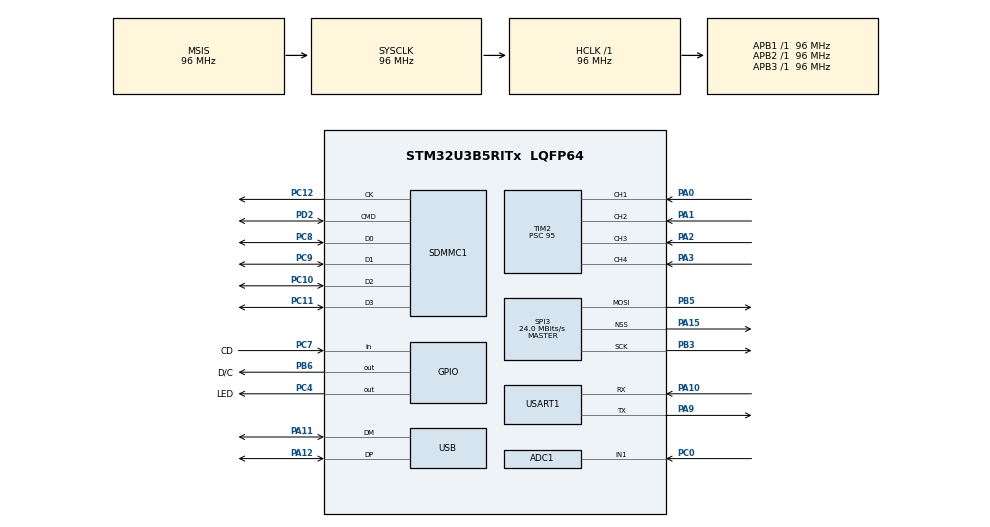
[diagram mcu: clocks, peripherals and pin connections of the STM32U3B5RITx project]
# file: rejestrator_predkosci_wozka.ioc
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ADC1.Channel-0\#ChannelRegularConversion=ADC_CHANNEL_1
ADC1.LowPowerAutoWait=ENABLE
ADC1.MonitoredBy-0\#ChannelRegularConversion=__NULL
ADC1.NbrOfConversionFlag=1
ADC1.OffsetNumber-0\#ChannelRegularConversion=ADC_OFFSET_NONE
ADC1.Rank-0\#ChannelRegularConversion=1
ADC1.SamplingTime-0\#ChannelRegularConversion=ADC_SAMPLETIME_1CYCLE_5
ADC1.master=1
CORTEX_M33_NS.userName=CORTEX_M33
FILEX.FX_DRIVER_USE_64BIT_LBA=0
FILEX.FX_ENABLE_EXFAT=1
FILEX.FX_SD_INTERFACE=1
Mcu.Family=STM32U3
Mcu.Name=STM32U3B5RITx
Mcu.Package=LQFP64
NVIC.PriorityGroup=NVIC_PRIORITYGROUP_4
NVIC.SDMMC1_IRQn=true\:0\:0\:false\:false\:true\:true\:true\:true
NVIC.TIM2_IRQn=true\:0\:0\:false\:false\:true\:true\:true\:true
NVIC.TIM7_IRQn=true\:0\:0\:false\:false\:true\:true\:true\:true
NVIC.USART1_IRQn=true\:0\:0\:false\:false\:true\:true\:true\:true
NVIC.USB_FS_IRQn=true\:0\:0\:false\:false\:true\:true\:true\:true
PA0.Signal=S_TIM2_CH1
PA1.Signal=S_TIM2_CH2
PA10.Mode=Asynchronous
PA10.Signal=USART1_RX
PA11.Mode=Device
PA11.Signal=USB_DM
PA12.Mode=Device
PA12.Signal=USB_DP
PA13\ (JTMS/SWDIO).Mode=Serial_Wire
PA13\ (JTMS/SWDIO).Signal=DEBUG_JTMS-SWDIO
PA14\ (JTCK/SWCLK).Mode=Serial_Wire
PA14\ (JTCK/SWCLK).Signal=DEBUG_JTCK-SWCLK
PA15\ (JTDI).Mode=NSS_Signal_Hard_Output
PA15\ (JTDI).Signal=SPI3_NSS
PA2.Signal=S_TIM2_CH3
PA3.Signal=S_TIM2_CH4
PA9.Mode=Asynchronous
PA9.Signal=USART1_TX
PB3\ (JTDO/TRACESWO).Mode=TX_Only_Simplex_Unidirect_Master
PB3\ (JTDO/TRACESWO).Signal=SPI3_SCK
PB5.Mode=TX_Only_Simplex_Unidirect_Master
PB5.Signal=SPI3_MOSI
PB6.GPIO_Label=D/C
PB6.Signal=GPIO_Output
PC0.Mode=IN1-Single-Ended
PC0.Signal=ADC1_IN1
PC10.GPIO_PuPd=GPIO_PULLUP
PC10.Mode=SD_4_bits_Wide_bus
PC10.Signal=SDMMC1_D2
PC11.GPIO_PuPd=GPIO_PULLUP
PC11.Mode=SD_4_bits_Wide_bus
PC11.Signal=SDMMC1_D3
PC12.Mode=SD_4_bits_Wide_bus
PC12.Signal=SDMMC1_CK
PC4.GPIO_Label=LED
PC4.Signal=GPIO_Output
PC7.GPIO_Label=CD
PC7.Signal=GPIO_Input
PC8.GPIO_PuPd=GPIO_PULLUP
PC8.Mode=SD_4_bits_Wide_bus
PC8.Signal=SDMMC1_D0
PC9.GPIO_PuPd=GPIO_PULLUP
PC9.Mode=SD_4_bits_Wide_bus
PC9.Signal=SDMMC1_D1
PD2.GPIO_PuPd=GPIO_PULLUP
PD2.Mode=SD_4_bits_Wide_bus
PD2.Signal=SDMMC1_CMD
PH0-OSC_IN\ (PH0).Mode=HSE-External-Oscillator
PH0-OSC_IN\ (PH0).Signal=RCC_OSC_IN
PH1-OSC_OUT\ (PH1).Mode=HSE-External-Oscillator
PH1-OSC_OUT\ (PH1).Signal=RCC_OSC_OUT
ProjectManager.HeapSize=0x400
ProjectManager.StackSize=0x800
ProjectManager.TargetToolchain=STM32CubeIDE
RCC.ADCFreq_Value=12000000
RCC.ADC_DIV=RCC_ADCDACCLK_DIV8
RCC.AHBFreq_Value=96000000
RCC.APB1Freq_Value=96000000
RCC.APB1TimFreq_Value=96000000
RCC.APB2Freq_Value=96000000
RCC.APB2TimFreq_Value=96000000
RCC.APB3Freq_Value=96000000
RCC.CortexFreq_Value=12000000
RCC.FLatency=FLASH_LATENCY_3
RCC.HCLKFreq_Value=96000000
RCC.HSE_VALUE=24000000
RCC.HSI48_VALUE=48000000
RCC.HSI_VALUE=16000000
RCC.ICLKCLockSelection=RCC_ICLKCLKSOURCE_HSI48
RCC.LSE_VALUE=32768
RCC.LSIDIV_VALUE=32000
RCC.MSIKDIV=RCC_MSI_DIV2
RCC.MSISDIV=RCC_MSI_DIV1
RCC.SYSCLKFreq_VALUE=96000000
RCC.USBFreq_Value=48000000
SH.S_TIM2_CH1.0=TIM2_CH1,Input_Capture1_from_TI1
SH.S_TIM2_CH2.0=TIM2_CH2,Input_Capture2_from_TI2
SH.S_TIM2_CH3.0=TIM2_CH3,Input_Capture3_from_TI3
SH.S_TIM2_CH4.0=TIM2_CH4,Input_Capture4_from_TI4
SPI3.BaudRatePrescaler=SPI_BAUDRATEPRESCALER_4
SPI3.CalculateBaudRate=24.0 MBits/s
SPI3.Direction=SPI_DIRECTION_2LINES_TXONLY
SPI3.Mode=SPI_MODE_MASTER
SPI3.TIMode=SPI_TIMODE_DISABLE
SPI3.VirtualNSS=VM_NSSHARD
SPI3.VirtualType=VM_MASTER
STMicroelectronics.X-CUBE-ALGOBUILD.1.5.0.LibraryCcDSPOoLibraryJjDSPOoLibrary=true
TIM2.Channel-Input_Capture1_from_TI1=TIM_CHANNEL_1
TIM2.Channel-Input_Capture2_from_TI2=TIM_CHANNEL_2
TIM2.Channel-Input_Capture3_from_TI3=TIM_CHANNEL_3
TIM2.Channel-Input_Capture4_from_TI4=TIM_CHANNEL_4
TIM2.ICPolarity_CH1=TIM_INPUTCHANNELPOLARITY_FALLING
TIM2.ICPolarity_CH2=TIM_INPUTCHANNELPOLARITY_FALLING
TIM2.ICPolarity_CH3=TIM_INPUTCHANNELPOLARITY_FALLING
TIM2.ICPolarity_CH4=TIM_INPUTCHANNELPOLARITY_FALLING
TIM2.Prescaler=95
TIM7.AutoReloadPreload=TIM_AUTORELOAD_PRELOAD_DISABLE
TIM7.Prescaler=95
USART1.VirtualMode-Asynchronous=VM_ASYNC
USB.VirtualMode=Device_Only
VP_CORTEX_M33_NS_VS_Ext.Mode=External_Mode
VP_FILEX_VS_FileOoSystemJjFileXJjCore.Mode=FileX_Core
VP_FILEX_VS_SDOointerface.Mode=SD_interface
VP_ICACHE_VS_ICACHE.Mode=DirectMappedCache
VP_PWR_VS_DBSignals.Mode=DisableDeadBatterySignals
VP_PWR_VS_SECSignals.Mode=Security/Privilege
VP_RCC_USB.Mode=CRS SYNC Source USB
VP_RNG_VS_RNG.Mode=RNG_Activate
VP_STMicroelectronics.X-CUBE-ALGOBUILD_VS_DSPOoLibraryJjLibrary_1.5.0_1.5.0.Mode=DSPOoLibraryJjLibrary
VP_TIM2_VS_ClockSourceINT.Mode=Internal
VP_TIM7_VS_ClockSourceINT.Mode=Enable_Timer
board=custom

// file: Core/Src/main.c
/* USER CODE BEGIN Header */
/**
  ******************************************************************************
  * @file           : main.c
  * @brief          : Main program body
  ******************************************************************************
  * @attention
  *
  * Copyright (c) 2026 STMicroelectronics.
  * All rights reserved.
  *
  * This software is licensed under terms that can be found in the LICENSE file
  * in the root directory of this software component.
  * If no LICENSE file comes with this software, it is provided AS-IS.
  *
  ******************************************************************************
  */
/* USER CODE END Header */
#include "main.h"
#include "app_filex.h"

/* USER CODE BEGIN Includes */
#include "OLED.h"
#include "KartaSD.h"
#include "KodyBledow.h"
#include "Bluetooth.h"
#include "Czas.h"
#include "Pomiar.h"
#include "Kalman.h"
#include <arm_math.h>
#include <stdio.h>
/* USER CODE END Includes */

ADC_HandleTypeDef hadc1;

RNG_HandleTypeDef hrng;

SD_HandleTypeDef hsd1;

SPI_HandleTypeDef hspi3;

TIM_HandleTypeDef htim2;
TIM_HandleTypeDef htim7;

UART_HandleTypeDef huart1;

PCD_HandleTypeDef hpcd_USB_DRD_FS;

/* USER CODE BEGIN PV */

extern FontDef Font_6x8;
extern FontDef Font_7x10;
extern FontDef Font_11x18;
extern FontDef Font_16x26;
extern const uint8_t logo_ITWL[];
extern const int logo_ITWL_width;
extern const int logo_ITWL_height;
char cBuforNapisów[ROZMIAR_BUF_NAPISOW];	//zmienna do drukowania napisów funkcją sprintf()
extern stPomiary_t stPomiary[ROZMIAR_BUF_POMIAROW];
uint8_t cBłąd;
uint16_t sLiczbaPomiarów = 0;
extern uint8_t cStatusPomiaru;
extern uint16_t sIndeksPomiaru;		//indeksuje kolejne pomiary
uint16_t sIndeksAnalizy;			//indeksuje analize pomiarów, gdyż możliwy jest jednoczesny pomiar wielu czujników i processing wtedy sie gubi
uint8_t cLicznikOczekiwania;
uint32_t nCzas;
uint32_t nCzasPetliGłównej, nCzasOstatniegoPomiaru;

uint32_t nT1, nT2;
float fCzas;	//czas w sekundach
float fMaxPrędkość = 0.0f;
extern float32_t fX[KSTAN];						//wektor stanu: 0=droga, 1=prędkość, 2=przyspieszenie, 3..6=błąd drogi rolek 1..4
extern uint16_t sLicznikPomiarow;
float fNapięcieAku;
float fDroga[LICZBA_CZUJNIKOW];
float fDrogaŚrednia;
float fPrędkośćIndywiŚrednia;
float fPrędkośćŚredniaWszystkich;
float fPrzyspieszenieŚrednieIndywid;
float fPrzyspieszenieŚrednieWszystkich;

GPIO_PinState cStanWejścia;
uint16_t sIndeks = 0;
uint32_t nPoprzedniZegarCzujnika[LICZBA_CZUJNIKOW];		//poprzednia wartość zegara do oceny kierunku obrotów
uint32_t nPoprzedniZegarMagnesu[LICZBA_CZUJNIKOW][MAGNESOW_NA_ROLCE];	//poprzedni zegar dla danego magnesu potrzebny do oceny prędkości i przyspiszenia
float fPoprzedniaPrędkość[LICZBA_CZUJNIKOW][MAGNESOW_NA_ROLCE];
float fPoprzedniaPrędkośćWszyst[LICZBA_CZUJNIKOW];
int8_t cKierunek[LICZBA_KANALOW];
int8_t cPoprzedniKierunek[LICZBA_KANALOW];
uint8_t cPoprzedniCzujnik[LICZBA_KANALOW];
int8_t cIndeksMagnesu[LICZBA_CZUJNIKOW];	//indeks magnesu na każdym z czujników
float fMaxPrędkośćWykresu;
uint8_t cMaxPredkośćWykresu;
float fSkokPodziałki;
uint8_t cLicznikSytuacjiPrzeciwnegoKierunku;	//licznik do detekcji niewłaściwego podłączenia czujników gdzie każda z rolek wskazuje inny kierunek przez kilka kolejnych impulsów
uint8_t cLicznikImpulsówPoZmianieKierunku;		//licznik do detekcji zmiany sposobu liczenia czasu między magnesami. Po zmianie przez pierwszy obrót rolki trzeba czas liczyć inną metodą
/* USER CODE END PV */

void SystemClock_Config(void);
void PeriphCommonClock_Config(void);
static void MX_GPIO_Init(void);
static void MX_ADC1_Init(void);
static void MX_ICACHE_Init(void);
static void MX_SPI3_Init(void);
static void MX_TIM2_Init(void);
static void MX_USART1_UART_Init(void);
static void MX_USB_PCD_Init(void);
static void MX_RNG_Init(void);
static void MX_SDMMC1_SD_Init(void);
static void MX_TIM7_Init(void);

int main(void)
{

  /* MCU Configuration--------------------------------------------------------*/

  /* Reset of all peripherals, Initializes the Flash interface and the Systick. */
  HAL_Init();

  /* Configure the system clock */
  SystemClock_Config();

  /* Configure the peripherals common clocks */
  PeriphCommonClock_Config();

  /* Initialize all configured peripherals */
  MX_GPIO_Init();
  MX_ADC1_Init();
  MX_ICACHE_Init();
  MX_SPI3_Init();
  MX_TIM2_Init();
  MX_USART1_UART_Init();
  MX_USB_PCD_Init();
  MX_RNG_Init();
  MX_SDMMC1_SD_Init();
  MX_FileX_Init();
  MX_TIM7_Init();
  /* USER CODE BEGIN 2 */
  OLED_Init();
  InicjujPomiarTimerem();
  /* USER CODE END 2 */

  /* Infinite loop */
  /* USER CODE BEGIN WHILE */
  //Podczas uruchomienia wyświetl logo
    RysujBitmape((OLED_SZEROKOSC - logo_ITWL_width), 0, logo_ITWL_width, logo_ITWL_height, (uint8_t*)logo_ITWL);
    OLED_RysujNapis("WS-150-3I", 0, 0, &Font_7x10);
    sprintf(cBuforNapisów, "ver.%d", NUMER_WERSJI_REPO);
    OLED_RysujNapis(cBuforNapisów, 0, 12, &Font_7x10);

    //zmierz i wyświetl napięcie akumulatora
    cBłąd = HAL_ADC_Start(&hadc1);
    cBłąd = HAL_ADC_PollForConversion(&hadc1, 100);
	uint32_t nAdcVal = HAL_ADC_GetValue(&hadc1);
	fNapięcieAku = 3.3f * nAdcVal / 4096;
	fNapięcieAku *= 113.0f / 13.0f;	//zewnętrzny dzielnik napięcia
    sprintf(cBuforNapisów, "Ub=%.1fV", fNapięcieAku);
    OLED_RysujNapis(cBuforNapisów, 0, 54, &Font_7x10);

    OLED_OdswiezEkran();
    OLED_CzyśćBuforEkranu();
    while (1)
    {
	  /*/diagnostyka pomiaru czasu - sprawdzić po zmianie częstotliwości taktowania timera
	  for (uint8_t n=0; n<6; n++)
	  {
		  HAL_GPIO_TogglePin(LED_GPIO_Port, LED_Pin);
		  nCzasOstatniegoPomiaru = PobierzCzasT7();
		  do  nCzas = MinalCzas(nCzasOstatniegoPomiaru);
		  while (nCzas < 100000);
	  }*/
    /* USER CODE END WHILE */

    /* USER CODE BEGIN 3 */
    	uint8_t cPozX, cPozY;
    	float fWspSkaliY;	//tyle m/s na wysokości ekranu
    	float fWspSkaliX;

    	//zaświeć LED przy aktywacji dowolnego czujnika
    	cStanWejścia  = HAL_GPIO_ReadPin(GPIOA, GPIO_PIN_0);	//czujnik 1 to PA0
    	cStanWejścia &= HAL_GPIO_ReadPin(GPIOA, GPIO_PIN_1);	//czujnik 2 to PA1
    	cStanWejścia &= HAL_GPIO_ReadPin(GPIOA, GPIO_PIN_2);	//czujnik 3 to PA2
    	cStanWejścia &= HAL_GPIO_ReadPin(GPIOA, GPIO_PIN_3);	//czujnik 4 to PA3
    	HAL_GPIO_WritePin(LED_GPIO_Port, LED_Pin, !cStanWejścia);

    	//jeżeli układ pomiarowy nie jest uzbrojony to uzbrój go, czyli inicjuj dane wejdź w gotowość na rejestrację pomiaru
    	if ((cStatusPomiaru & SP_UZBROJONY) != SP_UZBROJONY)
    	{
    		//InicjujFiltrKalmanaPrędkościRolek7X3Z();
    		cBłąd = RozpocznijPomiarTimerem();
    		cStatusPomiaru |= SP_UZBROJONY;
    		fMaxPrędkość = 0.0f;
    		fDrogaŚrednia = fPrędkośćIndywiŚrednia = fPrzyspieszenieŚrednieIndywid = 0.0f;
    		for (uint8_t n=0; n<LICZBA_CZUJNIKOW; n++)
    		{
    			fDroga[n] = -0.5f * ODCINEK_ROLKI;		//wstępne położenie rolki względem czujnika jest w zakresie od 0 do 1, średnio 0,5 odległości między magnesami więc skompensuj pierwszy, niepełny pomiar połową ujemnej drogi
    			for (uint8_t m=0; m<MAGNESOW_NA_ROLCE; m++)
    			{
    				fPoprzedniaPrędkość[n][m] = 0;				//zerowa poprzednia prędkość jest potrzebna do policzenia pierwszego przyspieszenia
    				nPoprzedniZegarMagnesu[n][m] = PobierzCzasT7();
    			}
    			nPoprzedniZegarCzujnika[n] = PobierzCzasT7();
    		}
    		for (uint8_t n=0; n<LICZBA_KANALOW; n++)
    		{
    			cPoprzedniKierunek[n] = cKierunek[n] = 1;	//zakładam ża początkowy kierunek jest zawsze do przodu
    			cPoprzedniCzujnik[n] = 0;
    		}
    	}

    	ObsługaKartySD();	//cały czas sprawdzaj obecność i stan karty oraz FAT-u aby była gotowa do zapisu
    	/*nCzasBiezący = PobierzCzasT7();
    	//Pojawił się pierwszy impuls pomiaru wiec uznajemy proces za trwajacy i rusza predykcja filtra
    	if (cStatusPomiaru & SP_TRWA)
    	{
    		nCzasPetliGłównej = MinalCzas2(nCzasPoprzedni, nCzasBiezący);
    		PredykcjaFiltraKalmanaPrędkościRolek7X3Z((float)nCzasPetliGłównej / 1000000);
    	}
    	nCzasPoprzedni = nCzasBiezący;*/

    	//=============================================================================================================================================================
    	//Jeżeli w cyklu pomiarowym pojawił się więcej niż jeden impuls, to wykonaj dodatkowy obieg pętli dla każdego impulsu, tak aby nie tracić danych
    	if (sIndeksAnalizy < sIndeksPomiaru)
    	{
    		if (sIndeksAnalizy > 0)	//indeks jest inkrementowany po pomiarze, więc pierwsze dane są dla indeksu = 1
    		{
    			sIndeks = sIndeksAnalizy - 1;	//indeks jest aktualizowany w przerwaniu CC timera i wskazuje na następny pomiar, więc trzeba odwołać się do poprzedniego elementu
    			if (stPomiary[sIndeks].cAktywnyCzujnik == SP_POMIAR_CZUJNIKA1)
				{
					cStatusPomiaru &= ~SP_POMIAR_CZUJNIKA1;
					fDroga[0] += (float)cKierunek[ROLKA1] * ODCINEK_ROLKI;	//całkuj drogę jaką pokonał wózek mierzony rolką 1 [m]
					fDrogaŚrednia = (fDrogaŚrednia + fDroga[0]) / 2;

					if (sIndeks > 1 * MAGNESOW_NA_ROLCE)	//do pomiaru prędkości musi być przynajmniej 1 obrót rolki
					{
						//podstawowa metoda obliczania czasu między impulsami. W przypadkach szczegolnych zmiany kierunku obrotu będzie nadpisana
						nCzas = MinalCzas2(nPoprzedniZegarMagnesu[0][cIndeksMagnesu[0]], stPomiary[sIndeks].nZegar);
						fCzas = (float)nCzas / 1000000;
						stPomiary[sIndeks].fPrędkośćIndywi[0] = (float)cKierunek[ROLKA1] * OBWOD_ROLKI / fCzas;	//prędkość na obwodzie rolki, liczona dla każdego magnesu osobno
						stPomiary[sIndeks].cAlgorytm[0] = 3;

						if (sIndeks > 2 * MAGNESOW_NA_ROLCE)	//aby okreslić kierunek muszą być przechwycone co najmniej 3 impulsy
						{
							//Zmiana kierunku obrotów objawia się na dwa sposoby:
							//1)dwa kolejne impulsy wystąpiły na tym samym czujniku
							if (cPoprzedniCzujnik[ROLKA1] == SP_POMIAR_CZUJNIKA1)
							{
								cKierunek[ROLKA1] *= -1;	//zmień znak
								//tutaj poprzedni impuls pochodzi z tego samego czujnika, więc aby poprawnie policzyć prędkość zamień miejscami poprzednie zegary
								uint32_t nTemp = nPoprzedniZegarCzujnika[0];
								nPoprzedniZegarCzujnika[0] = nPoprzedniZegarCzujnika[1];
								nPoprzedniZegarCzujnika[1] = nTemp;
							}
							else
							{
								//określenie kierunku przez porównanie czasów T1 i T2, gdzie:
								nT1 = MinalCzas2(nPoprzedniZegarCzujnika[0], nPoprzedniZegarCzujnika[1]);			//T1 = czas między poprzednim impulsem czujnika 1 a ostatnim impulsem czujnika 2 na tej rolce,
								nT2 = MinalCzas2(nPoprzedniZegarCzujnika[1], stPomiary[sIndeks].nZegar);	//T2 = czas między ostatnim impulsem czujnika 2 a impulsem bieżącym bieżącego czujnika 1
								if (nT1 < nT2)
									cKierunek[ROLKA1] = 1;
								else
									cKierunek[ROLKA1] = -1;
							}
							if (cKierunek[ROLKA1] != cPoprzedniKierunek[ROLKA1])	//czy była zmiana kierunku
							{
								cLicznikImpulsówPoZmianieKierunku = 1;
								stPomiary[sIndeks].cAlgorytm[0] = 0;
								fDroga[0] -= (float)cPoprzedniKierunek[ROLKA1] * ODCINEK_ROLKI;	//przy zmianie kierunku cześć drogi (liczone przed nawiasem) jest ze znakiem + a cześć ze znakiem minus
								stPomiary[sIndeks].fPrędkośćIndywi[0] = 0.0f;	//nastąpiła zmiana kierunku, więc prędkość przechodzi przez 0
							}
							else
							{
								//przypadek zmiany sposobu liczenia czasu przez obrót po zmianie kierunku
								if (cLicznikImpulsówPoZmianieKierunku < MAGNESOW_NA_ROLCE)
								{
									nCzas = MinalCzas2(nPoprzedniZegarMagnesu[0][(MAGNESOW_NA_ROLCE - 1) - cIndeksMagnesu[0]], stPomiary[sIndeks].nZegar);
									fCzas = (float)nCzas / 1000000;
									stPomiary[sIndeks].cAlgorytm[0] = 2;
									cLicznikImpulsówPoZmianieKierunku++;	//nie licz impulsów ciagle, bo przekręcenie licznika spowoduje zakłócenie, wystarczy zliczyć pełen obrót
								}
							}
							cPoprzedniKierunek[ROLKA1] = cKierunek[ROLKA1];
							stPomiary[sIndeks].fPrzyspieszenieIndywi[0] = (stPomiary[sIndeks].fPrędkośćIndywi[0] - fPoprzedniaPrędkość[0][cIndeksMagnesu[0]]) / fCzas;
							stPomiary[sIndeks].nCzas[0] = nCzas;
							fPrzyspieszenieŚrednieIndywid = (fPrzyspieszenieŚrednieIndywid + stPomiary[sIndeks].fPrzyspieszenieIndywi[0]) / 2;
						}
						fPoprzedniaPrędkość[0][cIndeksMagnesu[0]] = stPomiary[sIndeks].fPrędkośćIndywi[0];
						nPoprzedniZegarMagnesu[0][cIndeksMagnesu[0]] = stPomiary[sIndeks].nZegar;
						fPrędkośćIndywiŚrednia = (fPrędkośćIndywiŚrednia + stPomiary[sIndeks].fPrędkośćIndywi[0]) / 2;
						stPomiary[sIndeks].cKierunekObrotów[ROLKA1] = cKierunek[ROLKA1];
					}

					if (sIndeks > 1)	//do pomiaru prędkości muszą być przynajmniej 2 impulsy
					{
						nCzas = MinalCzas2(nPoprzedniZegarCzujnika[0], stPomiary[sIndeks].nZegar);
						fCzas = (float)nCzas / 1000000;
						stPomiary[sIndeks].fPrędkośćWszyst[0] = (float)cKierunek[ROLKA1] * ODCINEK_ROLKI / fCzas;	//prędkość na obwodzie rolki, liczona dla wszystkich magnesów
						if (sIndeks > 2)
							stPomiary[sIndeks].fPrzyspieszenieWszyst[0] = (stPomiary[sIndeks].fPrędkośćWszyst[0] - fPoprzedniaPrędkośćWszyst[0]) / fCzas;
						fPoprzedniaPrędkośćWszyst[0] = stPomiary[sIndeks].fPrędkośćWszyst[0];
						fPrędkośćŚredniaWszystkich = (fPrędkośćŚredniaWszystkich + stPomiary[sIndeks].fPrędkośćWszyst[0]) / 2;
						fPrzyspieszenieŚrednieWszystkich = (fPrzyspieszenieŚrednieWszystkich + stPomiary[sIndeks].fPrzyspieszenieWszyst[0]) / 2;
					}

					nPoprzedniZegarCzujnika[0] = stPomiary[sIndeks].nZegar;
					stPomiary[sIndeks].cIndeksMagnesu[0] = cIndeksMagnesu[0];
					cIndeksMagnesu[0] += cKierunek[ROLKA1];
					if (cIndeksMagnesu[0] < 0)
					cIndeksMagnesu[0] = MAGNESOW_NA_ROLCE - 1;
					if (cIndeksMagnesu[0] >= MAGNESOW_NA_ROLCE)
						cIndeksMagnesu[0] = 0;

					//AktulizacjaCzujnikiem1FiltraKalmanaPrędkości7X3Z(fDroga[0], stPomiary[sIndeks].fPrędkośćIndywi[0], stPomiary[sIndeks].fPrzyspieszenieIndywi[0]);
					cPoprzedniCzujnik[ROLKA1] = SP_POMIAR_CZUJNIKA1;
					stPomiary[sIndeks].fDroga[0] = fDroga[0];
				}

    			if (stPomiary[sIndeks].cAktywnyCzujnik == SP_POMIAR_CZUJNIKA2)
				{
					cStatusPomiaru &= ~SP_POMIAR_CZUJNIKA2;
					fDroga[1] += (float)cKierunek[ROLKA1] * ODCINEK_ROLKI;	//całkuj drogę jaką pokonał wózek mierzony rolką 2 [m]
					fDrogaŚrednia = (fDrogaŚrednia + fDroga[1]) / 2;

					if (sIndeks > 1 * MAGNESOW_NA_ROLCE)	//do pomiaru prędkości musi być przynajmniej 1 obrót rolki
					{
						//podstawowa metoda obliczania czasu między impulsami. W przypadkach szczegolnych zmiany kierunku obrotu będzie nadpisana
						nCzas = MinalCzas2(nPoprzedniZegarMagnesu[1][cIndeksMagnesu[1]], stPomiary[sIndeks].nZegar);
						fCzas = (float)nCzas / 1000000;
						stPomiary[sIndeks].fPrędkośćIndywi[1] = (float)cKierunek[ROLKA1] * OBWOD_ROLKI / fCzas;	//prędkość na obwodzie rolki, liczona dla każdego magnesu osobno
						stPomiary[sIndeks].cAlgorytm[1] = 3;

						if (sIndeks > 2 * MAGNESOW_NA_ROLCE)	//aby okreslić kierunek muszą być przechwycone co najmniej 3 impulsy
						{
							if (cPoprzedniCzujnik[ROLKA1] == SP_POMIAR_CZUJNIKA2)
							{
								cKierunek[ROLKA1] *= -1;	//zmień znak
								//tutaj poprzedni impuls pochodzi z tego samego czujnika, więc aby poprawnie policzyć prędkość zamień miejscami poprzednie zegary
								uint32_t nTemp = nPoprzedniZegarCzujnika[0];
								nPoprzedniZegarCzujnika[0] = nPoprzedniZegarCzujnika[1];
								nPoprzedniZegarCzujnika[1] = nTemp;
							}
							else
							{
								//określenie kierunku przez porównanie czasów T1 i T2, gdzie:
								nT1 = MinalCzas2(nPoprzedniZegarCzujnika[0], stPomiary[sIndeks].nZegar);	//T1 = czas między ostatnim impulsem czujnika 1 a impulsem bieżącym bieżącego czujnika 2
								nT2 = MinalCzas2(nPoprzedniZegarCzujnika[1], nPoprzedniZegarCzujnika[0]);	//T2 = czas między poprzednim impulsem czujnika 2 a ostatnim impulsem czujnika 1 na tej rolce,
								if (nT1 < nT2)
									cKierunek[ROLKA1] = 1;
								else
									cKierunek[ROLKA1] = -1;
							}
							if (cKierunek[ROLKA1] != cPoprzedniKierunek[ROLKA1])	//czy była zmiana kierunku
							{
								cLicznikImpulsówPoZmianieKierunku = 0;
								stPomiary[sIndeks].cAlgorytm[1] = 1;
								fDroga[1] -= (float)cPoprzedniKierunek[ROLKA1] * ODCINEK_ROLKI;	//przy zmianie kierunku cześć drogi (liczone przed nawiasem) jest ze znakiem + a cześć ze znakiem minus
								stPomiary[sIndeks].fPrędkośćIndywi[1] = 0.0f;	//nastąpiła zmiana kierunku, więc prędkość przechodzi przez 0
							}
							else
							{
								//przypadek zmiany sposobu liczenia czasu przez obrót po zmianie kierunku
								if (cLicznikImpulsówPoZmianieKierunku < MAGNESOW_NA_ROLCE)
								{
									nCzas = MinalCzas2(nPoprzedniZegarMagnesu[1][(MAGNESOW_NA_ROLCE - 1) - cIndeksMagnesu[1]], stPomiary[sIndeks].nZegar);
									fCzas = (float)nCzas / 1000000;
									stPomiary[sIndeks].cAlgorytm[1] = 2;
									cLicznikImpulsówPoZmianieKierunku++;	//nie licz impulsów ciagle, bo przekręcenie licznika spowoduje zakłócenie, wystarczy zliczyć pełen obrót
								}
							}
							cPoprzedniKierunek[ROLKA1] = cKierunek[ROLKA1];
							stPomiary[sIndeks].fPrzyspieszenieIndywi[1] = (stPomiary[sIndeks].fPrędkośćIndywi[1] - fPoprzedniaPrędkość[1][cIndeksMagnesu[1]]) / fCzas;
							stPomiary[sIndeks].nCzas[1] = nCzas;
							fPrzyspieszenieŚrednieIndywid = (fPrzyspieszenieŚrednieIndywid + stPomiary[sIndeks].fPrzyspieszenieIndywi[1]) / 2;
						}
						fPoprzedniaPrędkość[1][cIndeksMagnesu[1]] = stPomiary[sIndeks].fPrędkośćIndywi[1];
						nPoprzedniZegarMagnesu[1][cIndeksMagnesu[1]] = stPomiary[sIndeks].nZegar;
						fPrędkośćIndywiŚrednia = (fPrędkośćIndywiŚrednia + stPomiary[sIndeks].fPrędkośćIndywi[1]) / 2;
						stPomiary[sIndeks].cKierunekObrotów[ROLKA1] = cKierunek[ROLKA1];
					}

					if (sIndeks > 1)	//do pomiaru prędkości muszą być przynajmniej 2 impulsy
					{
						nCzas = MinalCzas2(nPoprzedniZegarCzujnika[1], stPomiary[sIndeks].nZegar);
						fCzas = (float)nCzas / 1000000;
						stPomiary[sIndeks].fPrędkośćWszyst[1] = (float)cKierunek[ROLKA1] * ODCINEK_ROLKI / fCzas;	//prędkość na obwodzie rolki, liczona dla wszystkich magnesów
						if (sIndeks > 2)
							stPomiary[sIndeks].fPrzyspieszenieWszyst[1] = (stPomiary[sIndeks].fPrędkośćWszyst[1] - fPoprzedniaPrędkośćWszyst[1]) / fCzas;
						fPoprzedniaPrędkośćWszyst[1] = stPomiary[sIndeks].fPrędkośćWszyst[1];
						fPrędkośćŚredniaWszystkich = (fPrędkośćŚredniaWszystkich + stPomiary[sIndeks].fPrędkośćWszyst[1]) / 2;
						fPrzyspieszenieŚrednieWszystkich = (fPrzyspieszenieŚrednieWszystkich + stPomiary[sIndeks].fPrzyspieszenieWszyst[1]) / 2;
					}

					nPoprzedniZegarCzujnika[1] = stPomiary[sIndeks].nZegar;
					stPomiary[sIndeks].cIndeksMagnesu[1] = cIndeksMagnesu[1];
					cIndeksMagnesu[1] += cKierunek[ROLKA1];
					if (cIndeksMagnesu[1] < 0)
						cIndeksMagnesu[1] = MAGNESOW_NA_ROLCE - 1;
					if (cIndeksMagnesu[1] >= MAGNESOW_NA_ROLCE)
						cIndeksMagnesu[1] = 0;

					//AktulizacjaCzujnikiem2FiltraKalmanaPrędkości7X3Z(fDroga[1], stPomiary[sIndeks].fPrędkośćIndywi[1], stPomiary[sIndeks].fPrzyspieszenieIndywi[1]);
					cPoprzedniCzujnik[ROLKA1] = SP_POMIAR_CZUJNIKA2;
					stPomiary[sIndeks].fDroga[1] = fDroga[1];
				}

    			if (stPomiary[sIndeks].cAktywnyCzujnik == SP_POMIAR_CZUJNIKA3)
				{
					cStatusPomiaru &= ~SP_POMIAR_CZUJNIKA3;
					fDroga[2] += (float)cKierunek[ROLKA2] * ODCINEK_ROLKI;	//całkuj drogę jaką pokonał wózek
					fDrogaŚrednia = (fDrogaŚrednia + fDroga[2]) / 2;

					if (sIndeks > 1 * MAGNESOW_NA_ROLCE)	//do pomiaru prędkości musi być przynajmniej 1 obrót rolki
					{
						//podstawowa metoda obliczania czasu między impulsami. W przypadkach szczegolnych zmiany kierunku obrotu będzie nadpisana
						nCzas = MinalCzas2(nPoprzedniZegarMagnesu[2][cIndeksMagnesu[2]], stPomiary[sIndeks].nZegar);
						fCzas = (float)nCzas / 1000000;
						stPomiary[sIndeks].fPrędkośćIndywi[2] = (float)cKierunek[ROLKA2] * OBWOD_ROLKI / fCzas;	//prędkość na obwodzie rolki, liczona dla każdego magnesu osobno
						stPomiary[sIndeks].cAlgorytm[2] = 3;

						if (sIndeks > 2 * MAGNESOW_NA_ROLCE)	//aby okreslić kierunek muszą być przechwycone co najmniej 3 impulsy
						{
							if (cPoprzedniCzujnik[ROLKA2] == SP_POMIAR_CZUJNIKA3)
							{
								cKierunek[ROLKA2] *= -1;	//zmień znak
								//tutaj poprzedni impuls pochodzi z tego samego czujnika, więc aby poprawnie policzyć prędkość zamień miejscami poprzednie zegary
								uint32_t nTemp = nPoprzedniZegarCzujnika[2];
								nPoprzedniZegarCzujnika[2] = nPoprzedniZegarCzujnika[3];
								nPoprzedniZegarCzujnika[3] = nTemp;
							}
							else
							{
								//określenie kierunku przez porównanie czasów T1 i T2, gdzie:
								nT1 = MinalCzas2(nPoprzedniZegarCzujnika[2], nPoprzedniZegarCzujnika[3]);	//T1 = czas między poprzednim impulsem czujnika 3 a ostatnim impulsem czujnika 4 na tej rolce,
								nT2 = MinalCzas2(nPoprzedniZegarCzujnika[3], stPomiary[sIndeks].nZegar);	//T2 = czas między ostatnim impulsem czujnika 4 a impulsem bieżącym bieżącego czujnika 3
								if (nT1 < nT2)
									cKierunek[ROLKA2] = 1;
								else
									cKierunek[ROLKA2] = -1;
							}
							if (cKierunek[ROLKA2] != cPoprzedniKierunek[ROLKA2])	//czy była zmiana kierunku
							{
								cLicznikImpulsówPoZmianieKierunku = 0;
								stPomiary[sIndeks].cAlgorytm[2] = 1;
								fDroga[2] -= (float)cPoprzedniKierunek[ROLKA2] * ODCINEK_ROLKI;	//przy zmianie kierunku cześć drogi (liczone przed nawiasem) jest ze znakiem + a cześć ze znakiem minus
								stPomiary[sIndeks].fPrędkośćIndywi[2] = 0.0f;	//nastąpiła zmiana kierunku, więc prędkość przechodzi przez 0
							}
							else
							{
								//przypadek zmiany sposobu liczenia czasu przez obrót po zmianie kierunku
								if (cLicznikImpulsówPoZmianieKierunku < MAGNESOW_NA_ROLCE)
								{
									nCzas = MinalCzas2(nPoprzedniZegarMagnesu[2][(MAGNESOW_NA_ROLCE - 1) - cIndeksMagnesu[2]], stPomiary[sIndeks].nZegar);
									fCzas = (float)nCzas / 1000000;
									stPomiary[sIndeks].cAlgorytm[2] = 2;
									cLicznikImpulsówPoZmianieKierunku++;	//nie licz impulsów ciagle, bo przekręcenie licznika spowoduje zakłócenie, wystarczy zliczyć pełen obrót
								}
							}
							cPoprzedniKierunek[ROLKA2] = cKierunek[ROLKA2];
							stPomiary[sIndeks].fPrzyspieszenieIndywi[2] = (stPomiary[sIndeks].fPrędkośćIndywi[2] - fPoprzedniaPrędkość[2][cIndeksMagnesu[2]]) / fCzas;
							stPomiary[sIndeks].nCzas[2] = nCzas;
							fPrzyspieszenieŚrednieIndywid = (fPrzyspieszenieŚrednieIndywid + stPomiary[sIndeks].fPrzyspieszenieIndywi[2]) / 2;
						}
						fPoprzedniaPrędkość[2][cIndeksMagnesu[2]] = stPomiary[sIndeks].fPrędkośćIndywi[2];
						nPoprzedniZegarMagnesu[2][cIndeksMagnesu[2]] = stPomiary[sIndeks].nZegar;
						fPrędkośćIndywiŚrednia = (fPrędkośćIndywiŚrednia + stPomiary[sIndeks].fPrędkośćIndywi[2]) / 2;
						stPomiary[sIndeks].cKierunekObrotów[ROLKA2] = cKierunek[ROLKA2];
					}

					if (sIndeks > 1)	//do pomiaru prędkości muszą być przynajmniej 2 impulsy
					{
						nCzas = MinalCzas2(nPoprzedniZegarCzujnika[2], stPomiary[sIndeks].nZegar);
						fCzas = (float)nCzas / 1000000;
						stPomiary[sIndeks].fPrędkośćWszyst[2] = (float)cKierunek[ROLKA2] * ODCINEK_ROLKI / fCzas;	//prędkość na obwodzie rolki, liczona dla wszystkich magnesów
						if (sIndeks > 2)
							stPomiary[sIndeks].fPrzyspieszenieWszyst[2] = (stPomiary[sIndeks].fPrędkośćWszyst[2] - fPoprzedniaPrędkośćWszyst[2]) / fCzas;
						fPoprzedniaPrędkośćWszyst[2] = stPomiary[sIndeks].fPrędkośćWszyst[2];
						fPrędkośćŚredniaWszystkich = (fPrędkośćŚredniaWszystkich + stPomiary[sIndeks].fPrędkośćWszyst[2]) / 2;
						fPrzyspieszenieŚrednieWszystkich = (fPrzyspieszenieŚrednieWszystkich + stPomiary[sIndeks].fPrzyspieszenieWszyst[2]) / 2;
					}

					nPoprzedniZegarCzujnika[2] = stPomiary[sIndeks].nZegar;
					stPomiary[sIndeks].cIndeksMagnesu[2] = cIndeksMagnesu[2];
					cIndeksMagnesu[2] += cKierunek[ROLKA2];
					if (cIndeksMagnesu[2] < 0)
						cIndeksMagnesu[2] = MAGNESOW_NA_ROLCE - 1;
					if (cIndeksMagnesu[2] >= MAGNESOW_NA_ROLCE)
						cIndeksMagnesu[2] = 0;

					//AktulizacjaCzujnikiem3FiltraKalmanaPrędkości7X3Z(fDroga[2], stPomiary[sIndeks].fPrędkośćIndywi[2], stPomiary[sIndeks].fPrzyspieszenieIndywi[2]);
					cPoprzedniCzujnik[ROLKA2] = SP_POMIAR_CZUJNIKA3;
					stPomiary[sIndeks].fDroga[2] = fDroga[2];
				}

    			if (stPomiary[sIndeks].cAktywnyCzujnik == SP_POMIAR_CZUJNIKA4)
				{
					cStatusPomiaru &= ~SP_POMIAR_CZUJNIKA4;
					fDroga[3] += (float)cKierunek[ROLKA2] * ODCINEK_ROLKI;	//całkuj drogę jaką pokonał wózek mierzony rolką 4 [m]
					fDrogaŚrednia = (fDrogaŚrednia + fDroga[3]) / 2;

					if (sIndeks > 1 * MAGNESOW_NA_ROLCE)	//do pomiaru prędkości musi być przynajmniej 1 obrót rolki
					{
						nCzas = MinalCzas2(nPoprzedniZegarMagnesu[3][cIndeksMagnesu[2]], stPomiary[sIndeks].nZegar);
						fCzas = (float)nCzas / 1000000;
						stPomiary[sIndeks].fPrędkośćIndywi[3] = (float)cKierunek[ROLKA2] * OBWOD_ROLKI / fCzas;	//prędkość na obwodzie rolki, liczona dla każdego magnesu osobno
						stPomiary[sIndeks].cAlgorytm[3] = 3;

						if (sIndeks > 2 * MAGNESOW_NA_ROLCE)	//aby okreslić kierunek muszą być przechwycone co najmniej 3 impulsy
						{
							if (cPoprzedniCzujnik[ROLKA2] == SP_POMIAR_CZUJNIKA4)
							{
								cKierunek[ROLKA2] *= -1;	//zmień znak
								//tutaj poprzedni impuls pochodzi z tego samego czujnika, więc aby poprawnie policzyć prędkość zamień miejscami poprzednie zegary
								uint32_t nTemp = nPoprzedniZegarCzujnika[2];
								nPoprzedniZegarCzujnika[2] = nPoprzedniZegarCzujnika[3];
								nPoprzedniZegarCzujnika[3] = nTemp;
							}
							else
							{
								//określenie kierunku przez porównanie czasów T1 i T2, gdzie:
								nT1 = MinalCzas2(nPoprzedniZegarCzujnika[2], stPomiary[sIndeks].nZegar);	//T1 = czas między ostatnim impulsem czujnika 3 a impulsem bieżącym bieżącego czujnika 4
								nT2 = MinalCzas2(nPoprzedniZegarCzujnika[3], nPoprzedniZegarCzujnika[2]);			//T2 = czas między poprzednim impulsem czujnika 4 a ostatnim impulsem czujnika 3 na tej rolce,
								if (nT1 < nT2)
									cKierunek[ROLKA2] = 1;
								else
									cKierunek[ROLKA2] = -1;
							}
							if (cKierunek[ROLKA2] != cPoprzedniKierunek[ROLKA2])	//czy była zmiana kierunku
							{
								cLicznikImpulsówPoZmianieKierunku = 0;
								stPomiary[sIndeks].cAlgorytm[3] = 1;
								fDroga[3] -= (float)cPoprzedniKierunek[ROLKA2] * ODCINEK_ROLKI;	//przy zmianie kierunku cześć drogi (liczone przed nawiasem) jest ze znakiem + a cześć ze znakiem minus
								stPomiary[sIndeks].fPrędkośćIndywi[3] = 0.0f;	//nastąpiła zmiana kierunku, więc prędkość przechodzi przez 0
							}
							else
							{
								//przypadek zmiany sposobu liczenia czasu przez obrót po zmianie kierunku
								if (cLicznikImpulsówPoZmianieKierunku < MAGNESOW_NA_ROLCE)
								{
									nCzas = MinalCzas2(nPoprzedniZegarMagnesu[3][(MAGNESOW_NA_ROLCE - 1) - cIndeksMagnesu[3]], stPomiary[sIndeks].nZegar);
									fCzas = (float)nCzas / 1000000;
									stPomiary[sIndeks].cAlgorytm[3] = 2;
									cLicznikImpulsówPoZmianieKierunku++;	//nie licz impulsów ciagle, bo przekręcenie licznika spowoduje zakłócenie, wystarczy zliczyć pełen obrót
								}
							}
							cPoprzedniKierunek[ROLKA2] = cKierunek[ROLKA2];
							stPomiary[sIndeks].fPrzyspieszenieIndywi[3] = (stPomiary[sIndeks].fPrędkośćIndywi[3] - fPoprzedniaPrędkość[3][cIndeksMagnesu[3]]) / fCzas;
							stPomiary[sIndeks].nCzas[3] = nCzas;
							fPrzyspieszenieŚrednieIndywid = (fPrzyspieszenieŚrednieIndywid + stPomiary[sIndeks].fPrzyspieszenieIndywi[3]) / 2;
						}
						fPoprzedniaPrędkość[3][cIndeksMagnesu[3]] = stPomiary[sIndeks].fPrędkośćIndywi[3];
						nPoprzedniZegarMagnesu[3][cIndeksMagnesu[3]] = stPomiary[sIndeks].nZegar;
						fPrędkośćIndywiŚrednia = (fPrędkośćIndywiŚrednia + stPomiary[sIndeks].fPrędkośćIndywi[3]) / 2;
						stPomiary[sIndeks].cKierunekObrotów[ROLKA2] = cKierunek[ROLKA2];
					}

					if (sIndeks > 1)	//do pomiaru prędkości muszą być przynajmniej 2 impulsy
					{
						nCzas = MinalCzas2(nPoprzedniZegarCzujnika[3], stPomiary[sIndeks].nZegar);
						fCzas = (float)nCzas / 1000000;
						stPomiary[sIndeks].fPrędkośćWszyst[3] = (float)cKierunek[ROLKA2] * ODCINEK_ROLKI / fCzas;	//prędkość na obwodzie rolki, liczona dla wszystkich magnesów
						if (sIndeks > 2)
							stPomiary[sIndeks].fPrzyspieszenieWszyst[3] = (stPomiary[sIndeks].fPrędkośćWszyst[3] - fPoprzedniaPrędkośćWszyst[3]) / fCzas;
						fPoprzedniaPrędkośćWszyst[3] = stPomiary[sIndeks].fPrędkośćWszyst[3];
						fPrędkośćŚredniaWszystkich = (fPrędkośćŚredniaWszystkich + stPomiary[sIndeks].fPrędkośćWszyst[3]) / 2;
						fPrzyspieszenieŚrednieWszystkich = (fPrzyspieszenieŚrednieWszystkich + stPomiary[sIndeks].fPrzyspieszenieWszyst[3]) / 2;
					}

					nPoprzedniZegarCzujnika[3] = stPomiary[sIndeks].nZegar;
					stPomiary[sIndeks].cIndeksMagnesu[3] = cIndeksMagnesu[3];
					cIndeksMagnesu[3] += cKierunek[ROLKA2];
					if (cIndeksMagnesu[3] < 0)
						cIndeksMagnesu[3] = MAGNESOW_NA_ROLCE - 1;
					if (cIndeksMagnesu[3] >= MAGNESOW_NA_ROLCE)
						cIndeksMagnesu[3] = 0;

					//AktulizacjaCzujnikiem4FiltraKalmanaPrędkości7X3Z(fDroga[3], stPomiary[sIndeks].fPrędkośćIndywi[3], stPomiary[sIndeks].fPrzyspieszenieIndywi[3]);
					cPoprzedniCzujnik[ROLKA2] = SP_POMIAR_CZUJNIKA4;
					stPomiary[sIndeks].fDroga[3] = fDroga[3];
				}

				//=============================================================================================================================================================
				//ustaw dane z filtra Kalmana. Nawet gdy nie ma pomiaru to wstaw dane z predykcji
				//stPomiary[sIndeks].fKalmanDroga = fX[0];
				//stPomiary[sIndeks].fKalmanPredkość = fX[1];
				//stPomiary[sIndeks].fKalmanPrzyspieszenie = fX[2];
				//stPomiary[sIndeks].fBłądDrogi[0] = fX[3];
				//stPomiary[sIndeks].fBłądDrogi[1] = fX[4];
				//stPomiary[sIndeks].fBłądDrogi[2] = fX[5];
				//stPomiary[sIndeks].fBłądDrogi[3] = fX[6];

    			stPomiary[sIndeks].fKalmanDroga = fDrogaŚrednia;
    			stPomiary[sIndeks].fKalmanPredkość = fPrędkośćŚredniaWszystkich;
    			stPomiary[sIndeks].fKalmanPrzyspieszenie = fPrzyspieszenieŚrednieWszystkich;

				//przyszły nowe dane, więc przerysuj wykres
				if (cStatusPomiaru & SP_NOWY_POMIAR)
				{
					//oblicz liczbę pomiarów

					sLiczbaPomiarów = sIndeksAnalizy;
					fWspSkaliX = (float)OLED_SZEROKOSC / sLiczbaPomiarów;	//skaluj szerokość wykresu do bieżącej liczby pomiarów

					//znajdź największą prędkość aby obliczyć współczynnik skalowania wykresu w Y
					fMaxPrędkość = 0;
					for (uint16_t n=0; n<sLiczbaPomiarów; n++)
					{
						if (stPomiary[n].fKalmanPredkość > fMaxPrędkość)
							fMaxPrędkość = stPomiary[n].fKalmanPredkość;

					}
					fWspSkaliY = (float)WYSOKOSC_ZERA_WYKRESU / (fMaxPrędkość * 1.2f);	//tyle m/s na wysokości ekranu

					OLED_CzyśćBuforEkranu();
					//Jako pierwszy wyświetla napis aby można było na nim rysować wykresy
					sprintf(cBuforNapisów, "V  =%.2f  ", fMaxPrędkość);
					OLED_RysujNapis(cBuforNapisów, 20, 45, &Font_11x18);
					OLED_RysujNapis("max", 31, 45+18-10, &Font_7x10);		//przesunięcie w Y aby wyrównać do dołu
					OLED_RysujNapis("m", 120, 45-3, &Font_7x10);
					OLED_RysujNapis("s", 120, 45+8, &Font_7x10);
					OLED_RysujLiniePoziomą(120, 45+7, 7);				//kreska ułamka jednostki [m/s]

					//rysuj poziomą podziałkę wykresu
					fMaxPrędkośćWykresu = (float)WYSOKOSC_ZERA_WYKRESU / fWspSkaliY;
					cMaxPredkośćWykresu = (uint8_t)(ceilf(fMaxPrędkośćWykresu) + 1.0f);
					cMaxPredkośćWykresu &= 0xFE;		//zamień na liczbę parzystą aby uniknąć nieokrągłego podziału liczb nieparzystych
					fSkokPodziałki = (float)cMaxPredkośćWykresu / LICZBA_PODZIALEK;
					for (uint8_t n=0; n<LICZBA_PODZIALEK; n++)
					{
						 int16_t y = (int16_t)(fSkokPodziałki * (n+1) * fWspSkaliY);
						 if ((y > 0) && (y < OLED_WYSOKOSC))
						 {
							 OLED_RysujLiniePoziomąPrzerywaną(SZEROKOSC_OPISU_PODZIALKI, WYSOKOSC_ZERA_WYKRESU - y, OLED_SZEROKOSC - SZEROKOSC_OPISU_PODZIALKI, 3);
							 sprintf(cBuforNapisów, "%.1f", (n+1) * fSkokPodziałki);
							 OLED_RysujNapis(cBuforNapisów, 0, WYSOKOSC_ZERA_WYKRESU - y - 3, &Font_6x8);
						 }
					}

					//rysuj wykresy prędkości wózka ze wszystkich 4 rolek jako punkty pomiarowe
					for (uint16_t x=0; x<sLiczbaPomiarów; x++)
					{
						 cPozX = x * fWspSkaliX;
						 cPozY = WYSOKOSC_ZERA_WYKRESU - stPomiary[x].fPrędkośćWszyst[0] * fWspSkaliY;
						 OLED_RysujPiksel(cPozX, cPozY, 1);
						 cPozY = WYSOKOSC_ZERA_WYKRESU - stPomiary[x].fPrędkośćWszyst[1] * fWspSkaliY;
						 OLED_RysujPiksel(cPozX, cPozY, 1);
						 cPozY = WYSOKOSC_ZERA_WYKRESU - stPomiary[x].fPrędkośćWszyst[2] * fWspSkaliY;
						 OLED_RysujPiksel(cPozX, cPozY, 1);
						 cPozY = WYSOKOSC_ZERA_WYKRESU - stPomiary[x].fPrędkośćWszyst[3] * fWspSkaliY;
						 OLED_RysujPiksel(cPozX, cPozY, 1);
					}

					//rysuj wykres prędkości wózka z filtra Kalmana jako linię ciągłą
					int16_t sStartX, sStartY, sStopX, sStopY;
					sStartX = sStartY = 0;
					for (uint16_t x=0; x<sLiczbaPomiarów; x++)
					{
						 sStopX = x * fWspSkaliX;
						 sStopY = stPomiary[x].fKalmanPredkość * fWspSkaliY;
						 OLED_RysujLinię(sStartX, WYSOKOSC_ZERA_WYKRESU - sStartY, sStopX, WYSOKOSC_ZERA_WYKRESU - sStopY);
						 sStartX = sStopX;
						 sStartY = sStopY;
					}

					//sprawdź czy obie rolki pokazują ten sam kierunek
					if (cKierunek[ROLKA1] != cKierunek[ROLKA2])
						cLicznikSytuacjiPrzeciwnegoKierunku++;
					else
						cLicznikSytuacjiPrzeciwnegoKierunku = 0;
					if (cLicznikSytuacjiPrzeciwnegoKierunku > 2)
						OLED_RysujNapis("Przeciwny kier. rolek!", 0, 20, &Font_6x8);

					//rysuj kierunek obrotu
					//sprintf(cBuforNapisów, "k: %+d %+d", stPomiary[sIndeks].cKierunekObrotów[ROLKA1], stPomiary[sIndeks].cKierunekObrotów[ROLKA2]);
					//OLED_RysujNapis(cBuforNapisów, 60, 0, &Font_6x8);
					//sprintf(cBuforNapisów, "t: %ld", nCzasPetliGłównej);
					//OLED_RysujNapis(cBuforNapisów, 60, 15, &Font_6x8);
					OLED_OdswiezEkran();
				}
    		}		//koniec warunku if (sIndeksAnalizy > 0)
    		if (sIndeksAnalizy < ROZMIAR_BUF_POMIAROW)
    			sIndeksAnalizy++;
    	}	//koniec warunku if (sIndeksAnalizy < sIndeksPomiaru)

		  //koniec pomiaru, zapisz na kartę i wyślij telemetrię
		  if (cStatusPomiaru & SP_GOTOWY)
		  {
			  if (sLiczbaPomiarów > LICZBA_POMIAROW_DO_ZAPISU)	//nie zapisuj bardzo krótkich pomiarów
			  {
				  cBłąd = ZapiszPomiarNaKarte(stPomiary);
				  if (cBłąd == BLAD_OK)
				  {
					  cBłąd = ZapiszIndeksPomiaruNaKarte(sLicznikPomiarow);		//aktualizuj indeks. skoro zapis danych się udał to indeks też powinien się zapisać
				  }
				  cBłąd = WyślijTelemetrieBluetooth(stPomiary);
				  sLiczbaPomiarów = 0;
				  sIndeksAnalizy = sIndeksPomiaru = 0;
			  }

			  cStatusPomiaru = 0;	//kasuj wszystkie flagi
			  cLicznikOczekiwania = 0;
		  }
		  else	//cStatusPomiaru nie jest SP_GOTOWY. Sprawdź czy wystąpił timeout
		  {
			  nCzas = MinalCzas(nCzasOstatniegoPomiaru);
			  if ((nCzas > 5000000) && (cStatusPomiaru & SP_UZBROJONY)  && (cStatusPomiaru & SP_TRWA) && (sIndeksPomiaru > 6))	//timeout 5 sekund
			  {
				  cBłąd = ZakończPomiarTimerem();
				  cStatusPomiaru |= SP_GOTOWY;
			  }
		  }
	  }
  /* USER CODE END 3 */
}

void SystemClock_Config(void)
{
  RCC_OscInitTypeDef RCC_OscInitStruct = {0};
  RCC_ClkInitTypeDef RCC_ClkInitStruct = {0};
  RCC_CRSInitTypeDef RCC_CRSInitStruct = {0};

  /** Enable Epod Booster
  */
  if (HAL_RCCEx_EpodBoosterClkConfig(RCC_EPODBOOSTER_SOURCE_MSIS, RCC_EPODBOOSTER_DIV1) != HAL_OK)
  {
    Error_Handler();
  }
  if (HAL_PWREx_EnableEpodBooster() != HAL_OK)
  {
    Error_Handler();
  }

  /** Configure the main internal regulator output voltage
  */
  if (HAL_PWREx_ControlVoltageScaling(PWR_REGULATOR_VOLTAGE_SCALE1) != HAL_OK)
  {
    Error_Handler();
  }

  /** Set Flash latency before increasing MSIS
  */
  __HAL_FLASH_SET_LATENCY(FLASH_LATENCY_3);

  /** Initializes the CPU, AHB and APB buses clocks
  */
  RCC_OscInitStruct.OscillatorType = RCC_OSCILLATORTYPE_HSI48|RCC_OSCILLATORTYPE_MSIS;
  RCC_OscInitStruct.HSI48State = RCC_HSI48_ON;
  RCC_OscInitStruct.MSISState = RCC_MSI_ON;
  RCC_OscInitStruct.MSISSource = RCC_MSI_RC0;
  RCC_OscInitStruct.MSISDiv = RCC_MSI_DIV1;
  if (HAL_RCC_OscConfig(&RCC_OscInitStruct) != HAL_OK)
  {
    Error_Handler();
  }

  /** Initializes the CPU, AHB and APB buses clocks
  */
  RCC_ClkInitStruct.ClockType = RCC_CLOCKTYPE_HCLK|RCC_CLOCKTYPE_SYSCLK
                              |RCC_CLOCKTYPE_PCLK1|RCC_CLOCKTYPE_PCLK2
                              |RCC_CLOCKTYPE_PCLK3;
  RCC_ClkInitStruct.SYSCLKSource = RCC_SYSCLKSOURCE_MSIS;
  RCC_ClkInitStruct.AHBCLKDivider = RCC_SYSCLK_DIV1;
  RCC_ClkInitStruct.APB1CLKDivider = RCC_HCLK_DIV1;
  RCC_ClkInitStruct.APB2CLKDivider = RCC_HCLK_DIV1;
  RCC_ClkInitStruct.APB3CLKDivider = RCC_HCLK_DIV1;

  if (HAL_RCC_ClockConfig(&RCC_ClkInitStruct, FLASH_LATENCY_3) != HAL_OK)
  {
    Error_Handler();
  }

  /** Enable the CRS clock
  */
  __HAL_RCC_CRS_CLK_ENABLE();

  /** Configures CRS
  */
  RCC_CRSInitStruct.Prescaler = RCC_CRS_SYNC_DIV1;
  RCC_CRSInitStruct.Source = RCC_CRS_SYNC_SOURCE_USB;
  RCC_CRSInitStruct.Polarity = RCC_CRS_SYNC_POLARITY_RISING;
  RCC_CRSInitStruct.ReloadValue = __HAL_RCC_CRS_RELOADVALUE_CALCULATE(48000000,1000);
  RCC_CRSInitStruct.ErrorLimitValue = 34;
  RCC_CRSInitStruct.HSI48CalibrationValue = 32;

  HAL_RCCEx_CRSConfig(&RCC_CRSInitStruct);
}

void PeriphCommonClock_Config(void)
{
  RCC_PeriphCLKInitTypeDef PeriphClkInit = {0};

  /** Initializes the common peripherals clock
  */
  PeriphClkInit.PeriphClockSelection = RCC_PERIPHCLK_SYSTICK;
  PeriphClkInit.SystickClockSelection = RCC_SYSTICKCLKSOURCE_HCLK_DIV8;
  if (HAL_RCCEx_PeriphCLKConfig(&PeriphClkInit) != HAL_OK)
  {
    Error_Handler();
  }
}

static void MX_ADC1_Init(void)
{

  ADC_ChannelConfTypeDef sConfig = {0};

  /** Common config
  */
  hadc1.Instance = ADC1;
  hadc1.Init.Resolution = ADC_RESOLUTION_12B;
  hadc1.Init.GainCompensation = 0;
  hadc1.Init.ScanConvMode = ADC_SCAN_DISABLE;
  hadc1.Init.EOCSelection = ADC_EOC_SINGLE_CONV;
  hadc1.Init.LowPowerAutoWait = ENABLE;
  hadc1.Init.ContinuousConvMode = DISABLE;
  hadc1.Init.NbrOfConversion = 1;
  hadc1.Init.DiscontinuousConvMode = DISABLE;
  hadc1.Init.ExternalTrigConv = ADC_SOFTWARE_START;
  hadc1.Init.ExternalTrigConvEdge = ADC_EXTERNALTRIGCONVEDGE_NONE;
  hadc1.Init.Overrun = ADC_OVR_DATA_PRESERVED;
  hadc1.Init.LeftBitShift = ADC_LEFTBITSHIFT_NONE;
  hadc1.Init.ConversionDataManagement = ADC_CONVERSIONDATA_DR;
  hadc1.Init.OversamplingMode = DISABLE;
  if (HAL_ADC_Init(&hadc1) != HAL_OK)
  {
    Error_Handler();
  }

  /** Configure Regular Channel
  */
  sConfig.Channel = ADC_CHANNEL_1;
  sConfig.Rank = ADC_REGULAR_RANK_1;
  sConfig.SamplingTime = ADC_SAMPLETIME_1CYCLE_5;
  sConfig.OffsetNumber = ADC_OFFSET_NONE;
  sConfig.Offset = 0;
  if (HAL_ADC_ConfigChannel(&hadc1, &sConfig) != HAL_OK)
  {
    Error_Handler();
  }
  /* USER CODE BEGIN ADC1_Init 2 */
  if (HAL_ADCEx_Calibration_Start(&hadc1, ADC_SINGLE_ENDED) != HAL_OK)
  {
      Error_Handler();
  }
  /* USER CODE END ADC1_Init 2 */

}

static void MX_ICACHE_Init(void)
{

  /** Enable instruction cache in 1-way (direct mapped cache)
  */
  if (HAL_ICACHE_ConfigAssociativityMode(ICACHE_1WAY) != HAL_OK)
  {
    Error_Handler();
  }
  if (HAL_ICACHE_Enable() != HAL_OK)
  {
    Error_Handler();
  }

}

static void MX_RNG_Init(void)
{

  hrng.Instance = RNG;
  hrng.Init.ClockErrorDetection = RNG_CED_ENABLE;
  if (HAL_RNG_Init(&hrng) != HAL_OK)
  {
    Error_Handler();
  }

}

static void MX_SDMMC1_SD_Init(void)
{

  /* USER CODE BEGIN SDMMC1_Init 0 */
	if (CzyKartaObecna())		//jeżeli nie ma karty to pomiń inicjalizację
		return;
  /* USER CODE END SDMMC1_Init 0 */

  hsd1.Instance = SDMMC1;
  hsd1.Init.ClockEdge = SDMMC_CLOCK_EDGE_RISING;
  hsd1.Init.ClockPowerSave = SDMMC_CLOCK_POWER_SAVE_DISABLE;
  hsd1.Init.BusWide = SDMMC_BUS_WIDE_4B;
  hsd1.Init.HardwareFlowControl = SDMMC_HARDWARE_FLOW_CONTROL_DISABLE;
  hsd1.Init.ClockDiv = 0;
  if (HAL_SD_Init(&hsd1) != HAL_OK)
  {
    Error_Handler();
  }
  /* USER CODE BEGIN SDMMC1_Init 2 */
  extern uint8_t cStatusKarty;
  cStatusKarty = STATSD_ZAINICJOWANO;	//zainicjowano sterownik karty SD
  /* USER CODE END SDMMC1_Init 2 */

}

static void MX_SPI3_Init(void)
{

  SPI_AutonomousModeConfTypeDef HAL_SPI_AutonomousMode_Cfg_Struct = {0};

  /* SPI3 parameter configuration*/
  hspi3.Instance = SPI3;
  hspi3.Init.Mode = SPI_MODE_MASTER;
  hspi3.Init.Direction = SPI_DIRECTION_2LINES_TXONLY;
  hspi3.Init.DataSize = SPI_DATASIZE_8BIT;
  hspi3.Init.CLKPolarity = SPI_POLARITY_LOW;
  hspi3.Init.CLKPhase = SPI_PHASE_1EDGE;
  hspi3.Init.NSS = SPI_NSS_HARD_OUTPUT;
  hspi3.Init.BaudRatePrescaler = SPI_BAUDRATEPRESCALER_4;
  hspi3.Init.FirstBit = SPI_FIRSTBIT_MSB;
  hspi3.Init.TIMode = SPI_TIMODE_DISABLE;
  hspi3.Init.CRCCalculation = SPI_CRCCALCULATION_DISABLE;
  hspi3.Init.CRCPolynomial = 0x7;
  hspi3.Init.NSSPMode = SPI_NSS_PULSE_ENABLE;
  hspi3.Init.NSSPolarity = SPI_NSS_POLARITY_LOW;
  hspi3.Init.FifoThreshold = SPI_FIFO_THRESHOLD_01DATA;
  hspi3.Init.MasterSSIdleness = SPI_MASTER_SS_IDLENESS_00CYCLE;
  hspi3.Init.MasterInterDataIdleness = SPI_MASTER_INTERDATA_IDLENESS_00CYCLE;
  hspi3.Init.MasterReceiverAutoSusp = SPI_MASTER_RX_AUTOSUSP_DISABLE;
  hspi3.Init.MasterKeepIOState = SPI_MASTER_KEEP_IO_STATE_DISABLE;
  hspi3.Init.IOSwap = SPI_IO_SWAP_DISABLE;
  hspi3.Init.ReadyMasterManagement = SPI_RDY_MASTER_MANAGEMENT_INTERNALLY;
  hspi3.Init.ReadyPolarity = SPI_RDY_POLARITY_HIGH;
  if (HAL_SPI_Init(&hspi3) != HAL_OK)
  {
    Error_Handler();
  }
  HAL_SPI_AutonomousMode_Cfg_Struct.TriggerState = SPI_AUTO_MODE_DISABLE;
  HAL_SPI_AutonomousMode_Cfg_Struct.TriggerSelection = SPI_GRP2_GPDMA_CH0_TCF_TRG;
  HAL_SPI_AutonomousMode_Cfg_Struct.TriggerPolarity = SPI_TRIG_POLARITY_RISING;
  if (HAL_SPIEx_SetConfigAutonomousMode(&hspi3, &HAL_SPI_AutonomousMode_Cfg_Struct) != HAL_OK)
  {
    Error_Handler();
  }

}

static void MX_TIM2_Init(void)
{

  TIM_ClockConfigTypeDef sClockSourceConfig = {0};
  TIM_MasterConfigTypeDef sMasterConfig = {0};
  TIM_IC_InitTypeDef sConfigIC = {0};

  htim2.Instance = TIM2;
  htim2.Init.Prescaler = 95;
  htim2.Init.CounterMode = TIM_COUNTERMODE_UP;
  htim2.Init.Period = 4294967295;
  htim2.Init.ClockDivision = TIM_CLOCKDIVISION_DIV1;
  htim2.Init.AutoReloadPreload = TIM_AUTORELOAD_PRELOAD_DISABLE;
  if (HAL_TIM_Base_Init(&htim2) != HAL_OK)
  {
    Error_Handler();
  }
  sClockSourceConfig.ClockSource = TIM_CLOCKSOURCE_INTERNAL;
  if (HAL_TIM_ConfigClockSource(&htim2, &sClockSourceConfig) != HAL_OK)
  {
    Error_Handler();
  }
  if (HAL_TIM_IC_Init(&htim2) != HAL_OK)
  {
    Error_Handler();
  }
  sMasterConfig.MasterOutputTrigger = TIM_TRGO_RESET;
  sMasterConfig.MasterSlaveMode = TIM_MASTERSLAVEMODE_DISABLE;
  if (HAL_TIMEx_MasterConfigSynchronization(&htim2, &sMasterConfig) != HAL_OK)
  {
    Error_Handler();
  }
  sConfigIC.ICPolarity = TIM_INPUTCHANNELPOLARITY_FALLING;
  sConfigIC.ICSelection = TIM_ICSELECTION_DIRECTTI;
  sConfigIC.ICPrescaler = TIM_ICPSC_DIV1;
  sConfigIC.ICFilter = 0;
  if (HAL_TIM_IC_ConfigChannel(&htim2, &sConfigIC, TIM_CHANNEL_1) != HAL_OK)
  {
    Error_Handler();
  }
  if (HAL_TIM_IC_ConfigChannel(&htim2, &sConfigIC, TIM_CHANNEL_2) != HAL_OK)
  {
    Error_Handler();
  }
  if (HAL_TIM_IC_ConfigChannel(&htim2, &sConfigIC, TIM_CHANNEL_3) != HAL_OK)
  {
    Error_Handler();
  }
  if (HAL_TIM_IC_ConfigChannel(&htim2, &sConfigIC, TIM_CHANNEL_4) != HAL_OK)
  {
    Error_Handler();
  }

}

static void MX_TIM7_Init(void)
{

  TIM_MasterConfigTypeDef sMasterConfig = {0};

  htim7.Instance = TIM7;
  htim7.Init.Prescaler = 95;
  htim7.Init.CounterMode = TIM_COUNTERMODE_UP;
  htim7.Init.Period = 65535;
  htim7.Init.AutoReloadPreload = TIM_AUTORELOAD_PRELOAD_DISABLE;
  if (HAL_TIM_Base_Init(&htim7) != HAL_OK)
  {
    Error_Handler();
  }
  sMasterConfig.MasterOutputTrigger = TIM_TRGO_RESET;
  sMasterConfig.MasterSlaveMode = TIM_MASTERSLAVEMODE_DISABLE;
  if (HAL_TIMEx_MasterConfigSynchronization(&htim7, &sMasterConfig) != HAL_OK)
  {
    Error_Handler();
  }
  /* USER CODE BEGIN TIM7_Init 2 */
  HAL_TIM_Base_Start_IT(&htim7);		//rozpocznij liczenie czasu w trybie z przerwaniami
  /* USER CODE END TIM7_Init 2 */

}

static void MX_USART1_UART_Init(void)
{

  huart1.Instance = USART1;
  huart1.Init.BaudRate = 115200;
  huart1.Init.WordLength = UART_WORDLENGTH_8B;
  huart1.Init.StopBits = UART_STOPBITS_1;
  huart1.Init.Parity = UART_PARITY_NONE;
  huart1.Init.Mode = UART_MODE_TX_RX;
  huart1.Init.HwFlowCtl = UART_HWCONTROL_NONE;
  huart1.Init.OverSampling = UART_OVERSAMPLING_16;
  huart1.Init.OneBitSampling = UART_ONE_BIT_SAMPLE_DISABLE;
  huart1.Init.ClockPrescaler = UART_PRESCALER_DIV1;
  huart1.AdvancedInit.AdvFeatureInit = UART_ADVFEATURE_NO_INIT;
  if (HAL_UART_Init(&huart1) != HAL_OK)
  {
    Error_Handler();
  }
  if (HAL_UARTEx_SetTxFifoThreshold(&huart1, UART_TXFIFO_THRESHOLD_1_8) != HAL_OK)
  {
    Error_Handler();
  }
  if (HAL_UARTEx_SetRxFifoThreshold(&huart1, UART_RXFIFO_THRESHOLD_1_8) != HAL_OK)
  {
    Error_Handler();
  }
  if (HAL_UARTEx_DisableFifoMode(&huart1) != HAL_OK)
  {
    Error_Handler();
  }

}

static void MX_USB_PCD_Init(void)
{

  hpcd_USB_DRD_FS.Instance = USB_DRD_FS;
  hpcd_USB_DRD_FS.Init.dev_endpoints = 8;
  hpcd_USB_DRD_FS.Init.speed = USBD_FS_SPEED;
  hpcd_USB_DRD_FS.Init.phy_itface = PCD_PHY_EMBEDDED;
  hpcd_USB_DRD_FS.Init.Sof_enable = DISABLE;
  hpcd_USB_DRD_FS.Init.low_power_enable = DISABLE;
  hpcd_USB_DRD_FS.Init.lpm_enable = DISABLE;
  hpcd_USB_DRD_FS.Init.battery_charging_enable = DISABLE;
  hpcd_USB_DRD_FS.Init.vbus_sensing_enable = DISABLE;
  hpcd_USB_DRD_FS.Init.bulk_doublebuffer_enable = DISABLE;
  hpcd_USB_DRD_FS.Init.iso_singlebuffer_enable = DISABLE;
  if (HAL_PCD_Init(&hpcd_USB_DRD_FS) != HAL_OK)
  {
    Error_Handler();
  }

}

static void MX_GPIO_Init(void)
{
  GPIO_InitTypeDef GPIO_InitStruct = {0};

  /* GPIO Ports Clock Enable */
  __HAL_RCC_GPIOC_CLK_ENABLE();
  __HAL_RCC_GPIOA_CLK_ENABLE();
  __HAL_RCC_GPIOD_CLK_ENABLE();
  __HAL_RCC_GPIOB_CLK_ENABLE();

  /*Configure GPIO pin Output Level */
  HAL_GPIO_WritePin(LED_GPIO_Port, LED_Pin, GPIO_PIN_RESET);

  /*Configure GPIO pin Output Level */
  HAL_GPIO_WritePin(D_C_GPIO_Port, D_C_Pin, GPIO_PIN_RESET);

  /*Configure GPIO pin : LED_Pin */
  GPIO_InitStruct.Pin = LED_Pin;
  GPIO_InitStruct.Mode = GPIO_MODE_OUTPUT_PP;
  GPIO_InitStruct.Pull = GPIO_NOPULL;
  GPIO_InitStruct.Speed = GPIO_SPEED_FREQ_LOW;
  HAL_GPIO_Init(LED_GPIO_Port, &GPIO_InitStruct);

  /*Configure GPIO pin : CD_Pin */
  GPIO_InitStruct.Pin = CD_Pin;
  GPIO_InitStruct.Mode = GPIO_MODE_INPUT;
  GPIO_InitStruct.Pull = GPIO_NOPULL;
  HAL_GPIO_Init(CD_GPIO_Port, &GPIO_InitStruct);

  /*Configure GPIO pin : D_C_Pin */
  GPIO_InitStruct.Pin = D_C_Pin;
  GPIO_InitStruct.Mode = GPIO_MODE_OUTPUT_PP;
  GPIO_InitStruct.Pull = GPIO_NOPULL;
  GPIO_InitStruct.Speed = GPIO_SPEED_FREQ_LOW;
  HAL_GPIO_Init(D_C_GPIO_Port, &GPIO_InitStruct);

}

void Error_Handler(void)
{
  __disable_irq();
  while (1)
  {
  }
}
